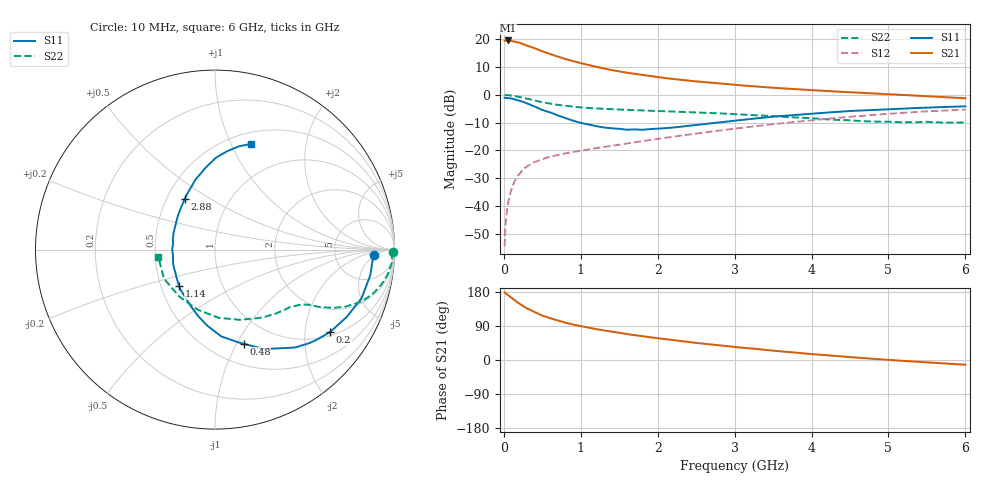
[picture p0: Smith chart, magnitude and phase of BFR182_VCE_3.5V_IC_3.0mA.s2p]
! Infineon Technologies  Discrete & RF Semiconductors
! BFR182
! VCE =  3.5 V,  IC =  3.0 mA
! Common Emitter S-Parameters:  Nov 2015
# GHz  S  MA  R  50
!  f  S11  S21  S12  S22
! GHz  MAG  ANG  MAG  ANG  MAG  ANG  MAG  ANG
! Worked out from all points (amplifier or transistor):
!   210 points, 10 MHz to 6 GHz, reference 50 ohm
!   highest |S21| = 19.6 dB at 50 MHz (marker M1)
!   |S21| within 3 dB of that: start of sweep to 420.5 MHz
!   unconditionally stable (mu >= 1): 1.296 GHz to 2.97 GHz
!   at 185 MHz: K = 0.24, MSG = 23.9 dB, |S12| = -29.0 dB
!   at 1.52 GHz: K = 1.05, MAG = 11.8 dB, |S12| = -17.8 dB
!   at 6 GHz: K = 0.89, MSG = 2.0 dB, |S12| = -5.3 dB
!   S11 on the Smith chart (normalised r, x): 10 MHz: 15, -4; 200 MHz: 1.11, -2.71; 480 MHz: 0.71, -1.07; 1.14 GHz: 0.62, -0.27; 2.88 GHz: 0.62, +0.39; 6 GHz: 0.62, +1.19
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0.01  0.8851 -1.9  9.445 178.5  0.0019 95.9  0.9942 -0.9
0.025  0.879 -4.6  9.34 175.8  0.0052 88.3  0.9869 -2.1
0.05  0.8772 -9.3  9.499 171.9  0.0103 84.0  0.9884 -4.2
0.1  0.8605 -18.4  9.288 164.3  0.0202 79.6  0.9723 -8.2
0.15  0.8236 -27.2  8.988 155.8  0.0297 75.0  0.9477 -11.9
0.2  0.7888 -35.6  8.68 148.9  0.0377 70.8  0.9172 -15.2
0.3  0.7048 -50.7  7.693 136.3  0.0516 65.0  0.8543 -20.2
0.4  0.6169 -63.9  6.91 126.3  0.0621 59.8  0.7898 -23.8
0.48  0.5485 -73.1  6.222 119.1  0.068 57.6  0.7458 -25.7
0.5  0.5339 -75.7  6.067 117.1  0.0695 57.1  0.7349 -26.2
0.6  0.4853 -85.8  5.412 110.3  0.0773 55.0  0.6957 -27.6
0.7  0.4272 -95.6  4.879 104.1  0.0826 54.3  0.6621 -28.8
0.9  0.343 -113.1  4.029 93.4  0.094 53.8  0.6113 -30.3
1.02  0.3086 -123.7  3.655 88.5  0.0999 54.3  0.5911 -31.2
1.14  0.285 -134.5  3.338 83.8  0.1064 54.9  0.5761 -32.2
1.6  0.2364 -172.4  2.493 68.4  0.1332 56.6  0.5371 -36.2
2.02  0.2477 159.2  2.06 56.9  0.1629 57.9  0.5115 -41.2
2.88  0.3282 120.9  1.562 37.1  0.2352 56.2  0.4589 -55.6
3.1  0.3547 114.7  1.475 32.5  0.2561 54.8  0.4416 -60.3
4.1  0.4692 95.0  1.192 14.1  0.359 46.4  0.371 -90.5
5.1  0.5594 81.7  1.011 -1.1  0.4656 34.1  0.3243 -132.1
6  0.6216 71.4  0.868 -12.5  0.5418 20.5  0.319 -172.9
